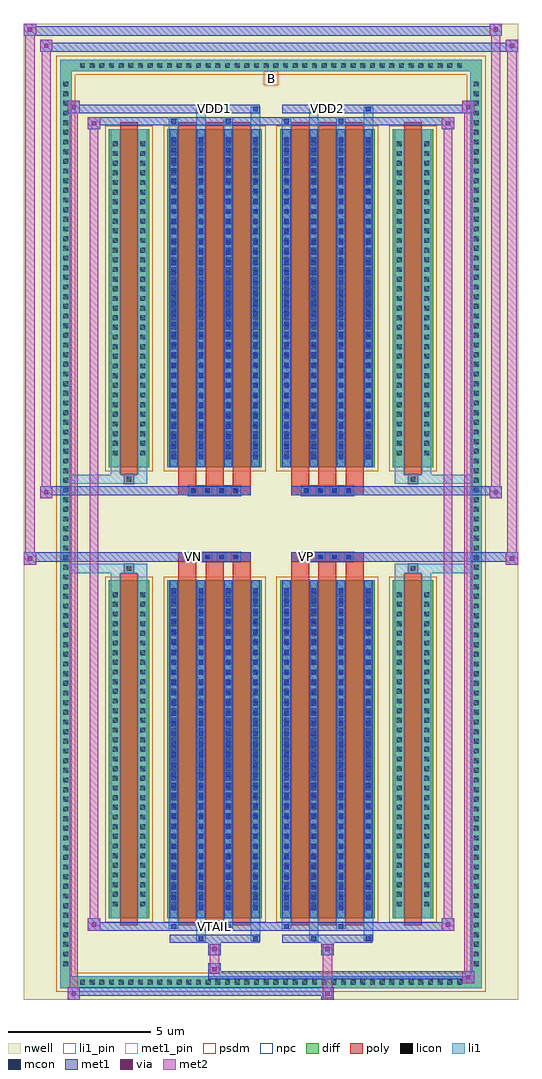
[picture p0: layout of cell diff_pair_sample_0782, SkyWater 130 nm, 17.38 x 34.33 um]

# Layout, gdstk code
import gdstk
lib = gdstk.Library(unit=1e-6, precision=5e-09)
def R(c, l, rs):  # rectangles x0, y0, x1, y1
    for r in rs: c.add(gdstk.rectangle(r[:2], r[2:], *l))
def A(c, l, x, y, w, h, nx, ny, dx, dy):  # array of equal rectangles
    R(c, l, [(x+i*dx, y+j*dy, x+i*dx+w, y+j*dy+h) for i in range(nx) for j in range(ny)])
def P(c, l, *ps):  # polygons
    for p in ps: c.add(gdstk.Polygon(p, *l))
nwell = (64, 20)
diff = (65, 20)
poly = (66, 20)
licon = (66, 44)
li1_pin = (67, 16)
li1 = (67, 20)
mcon = (67, 44)
met1_pin = (68, 16)
met1 = (68, 20)
via = (68, 44)
met2 = (69, 20)
psdm = (94, 20)
npc = (95, 20)

diff_pair_sample_0782 = lib.new_cell('diff_pair_sample_0782')
R(diff_pair_sample_0782, nwell, [(-8.69,-16.73,8.69,17.6), (-6.01,-14.92,-0.01,-0.8), (0.01,-14.92,6.01,-0.8), (-6.01,0.8,-0.01,14.92), (0.01,0.8,6.01,14.92)])
A(diff_pair_sample_0782, diff, -6.835, -16.33, 0.41, 0.41, 40, 2, 0.34, 32.25)
A(diff_pair_sample_0782, diff, -7.42, -15.675, 0.41, 0.41, 1, 92, 0, 0.34)
A(diff_pair_sample_0782, diff, 7.01, -15.675, 0.41, 0.41, 1, 92, 0, 0.34)
R(diff_pair_sample_0782, diff, [(-6.835,-16.33,6.835,-15.92), (-7.42,-15.675,-7.01,15.675), (7.01,-15.675,7.42,15.675), (-5.7,-13.875,-4.29,-1.985), (-3.65,-13.875,-0.32,-1.985), (0.32,-13.875,3.65,-1.985), (4.29,-13.875,5.7,-1.985), (-5.7,1.985,-4.29,13.875), (-3.65,1.985,-0.32,13.875), (0.32,1.985,3.65,13.875), (4.29,1.985,5.7,13.875), (-6.835,15.92,6.835,16.33)])
P(diff_pair_sample_0782, diff, [(7.42,16.33),(-7.42,16.33),(-7.42,-15.92),(-7.01,-15.92),(-7.01,15.92),(7.01,15.92),(7.01,-15.92),(-7.01,-15.92),(-7.42,-15.92),(-7.42,-16.33),(7.42,-16.33)])
A(diff_pair_sample_0782, poly, -3.26, -14.125, 0.63, 12.39, 3, 2, 0.96, 15.86)
A(diff_pair_sample_0782, poly, 0.71, -14.125, 0.63, 12.39, 3, 2, 0.96, 15.86)
A(diff_pair_sample_0782, poly, -3.26, -1.735, 0.63, 0.405, 3, 2, 0.96, 3.065)
A(diff_pair_sample_0782, poly, 0.71, -1.735, 0.63, 0.405, 3, 2, 0.96, 3.065)
A(diff_pair_sample_0782, poly, -2.9, -1.33, 0.33, 0.33, 4, 2, 0.5, 2.33)
A(diff_pair_sample_0782, poly, 1.07, -1.33, 0.33, 0.33, 4, 2, 0.5, 2.33)
R(diff_pair_sample_0782, poly, [(-5.31,-14.125,-4.68,-1.735), (4.68,-14.125,5.31,-1.735), (-5.16,-1.735,-4.83,-1.405), (-5.16,-1.735,-4.83,-1.405), (4.83,-1.735,5.16,-1.405), (4.83,-1.735,5.16,-1.405), (-3.26,-1.33,-0.71,-1), (0.71,-1.33,3.26,-1), (-3.26,1,-0.71,1.33), (0.71,1,3.26,1.33), (-5.16,1.405,-4.83,1.735), (-5.16,1.405,-4.83,1.735), (4.83,1.405,5.16,1.735), (4.83,1.405,5.16,1.735), (-5.31,1.735,-4.68,14.125), (4.68,1.735,5.31,14.125)])
A(diff_pair_sample_0782, licon, -6.715, -16.21, 0.17, 0.17, 40, 2, 0.34, 32.25)
A(diff_pair_sample_0782, licon, -7.3, -15.555, 0.17, 0.17, 1, 92, 0, 0.34)
A(diff_pair_sample_0782, licon, 7.13, -15.555, 0.17, 0.17, 1, 92, 0, 0.34)
A(diff_pair_sample_0782, licon, -5.56, -13.455, 0.17, 0.17, 1, 33, 0, 0.34)
A(diff_pair_sample_0782, licon, -4.6, -13.455, 0.17, 0.17, 1, 33, 0, 0.34)
A(diff_pair_sample_0782, licon, -3.51, -13.455, 0.17, 0.17, 4, 33, 0.96, 0.34)
A(diff_pair_sample_0782, licon, 0.46, -13.455, 0.17, 0.17, 4, 33, 0.96, 0.34)
A(diff_pair_sample_0782, licon, 4.43, -13.455, 0.17, 0.17, 1, 33, 0, 0.34)
A(diff_pair_sample_0782, licon, 5.39, -13.455, 0.17, 0.17, 1, 33, 0, 0.34)
A(diff_pair_sample_0782, licon, -2.82, -1.25, 0.17, 0.17, 4, 2, 0.5, 2.33)
A(diff_pair_sample_0782, licon, 1.15, -1.25, 0.17, 0.17, 4, 2, 0.5, 2.33)
A(diff_pair_sample_0782, licon, -5.56, 2.405, 0.17, 0.17, 1, 33, 0, 0.34)
A(diff_pair_sample_0782, licon, -4.6, 2.405, 0.17, 0.17, 1, 33, 0, 0.34)
A(diff_pair_sample_0782, licon, -3.51, 2.405, 0.17, 0.17, 4, 33, 0.96, 0.34)
A(diff_pair_sample_0782, licon, 0.46, 2.405, 0.17, 0.17, 4, 33, 0.96, 0.34)
A(diff_pair_sample_0782, licon, 4.43, 2.405, 0.17, 0.17, 1, 33, 0, 0.34)
A(diff_pair_sample_0782, licon, 5.39, 2.405, 0.17, 0.17, 1, 33, 0, 0.34)
R(diff_pair_sample_0782, licon, [(-5.08,-1.655,-4.91,-1.485), (4.91,-1.655,5.08,-1.485), (-5.08,1.485,-4.91,1.655), (4.91,1.485,5.08,1.655)])
R(diff_pair_sample_0782, li1_pin, [(-0.25,15.42,0.25,15.92)])
A(diff_pair_sample_0782, li1, -6.795, -16.29, 0.33, 0.33, 40, 2, 0.34, 32.25)
A(diff_pair_sample_0782, li1, -7.38, -15.635, 0.33, 0.33, 1, 92, 0, 0.34)
A(diff_pair_sample_0782, li1, 7.05, -15.635, 0.33, 0.33, 1, 92, 0, 0.34)
A(diff_pair_sample_0782, li1, -3.59, -13.875, 0.33, 11.89, 4, 2, 0.96, 15.86)
A(diff_pair_sample_0782, li1, 0.38, -13.875, 0.33, 11.89, 4, 2, 0.96, 15.86)
A(diff_pair_sample_0782, li1, -3.51, -13.595, 0.17, 0.17, 4, 32, 0.96, 0.36)
A(diff_pair_sample_0782, li1, -3.51, -13.595, 0.17, 11.33, 4, 2, 0.96, 15.86)
A(diff_pair_sample_0782, li1, 0.46, -13.595, 0.17, 0.17, 4, 32, 0.96, 0.36)
A(diff_pair_sample_0782, li1, 0.46, -13.595, 0.17, 11.33, 4, 2, 0.96, 15.86)
A(diff_pair_sample_0782, li1, -5.64, -13.535, 0.33, 0.33, 1, 33, 0, 0.34)
A(diff_pair_sample_0782, li1, -4.68, -13.535, 0.33, 0.33, 1, 33, 0, 0.34)
A(diff_pair_sample_0782, li1, -3.59, -13.535, 0.33, 0.33, 4, 33, 0.96, 0.34)
A(diff_pair_sample_0782, li1, 0.38, -13.535, 0.33, 0.33, 4, 33, 0.96, 0.34)
A(diff_pair_sample_0782, li1, 4.35, -13.535, 0.33, 0.33, 1, 33, 0, 0.34)
A(diff_pair_sample_0782, li1, 5.31, -13.535, 0.33, 0.33, 1, 33, 0, 0.34)
A(diff_pair_sample_0782, li1, -2.9, -1.33, 0.33, 0.33, 4, 2, 0.5, 2.33)
A(diff_pair_sample_0782, li1, 1.07, -1.33, 0.33, 0.33, 4, 2, 0.5, 2.33)
A(diff_pair_sample_0782, li1, -3.51, 2.265, 0.17, 0.17, 4, 32, 0.96, 0.36)
A(diff_pair_sample_0782, li1, 0.46, 2.265, 0.17, 0.17, 4, 32, 0.96, 0.36)
A(diff_pair_sample_0782, li1, -5.64, 2.325, 0.33, 0.33, 1, 33, 0, 0.34)
A(diff_pair_sample_0782, li1, -4.68, 2.325, 0.33, 0.33, 1, 33, 0, 0.34)
A(diff_pair_sample_0782, li1, -3.59, 2.325, 0.33, 0.33, 4, 33, 0.96, 0.34)
A(diff_pair_sample_0782, li1, 0.38, 2.325, 0.33, 0.33, 4, 33, 0.96, 0.34)
A(diff_pair_sample_0782, li1, 4.35, 2.325, 0.33, 0.33, 1, 33, 0, 0.34)
A(diff_pair_sample_0782, li1, 5.31, 2.325, 0.33, 0.33, 1, 33, 0, 0.34)
R(diff_pair_sample_0782, li1, [(-7.42,-16.33,-7.01,-15.92), (-7.42,-16.33,-7.01,-15.92), (-7.01,-16.33,7.01,-15.92), (7.01,-16.33,7.42,-15.92), (7.01,-16.33,7.42,-15.92), (-7.42,-15.92,-7.01,15.92), (7.01,-15.92,7.42,15.92), (-2.63,-14.68,-2.3,-13.875), (-2.55,-14.68,-2.38,-14.51), (-0.71,-14.68,-0.38,-13.875), (-0.63,-14.68,-0.46,-14.51), (1.34,-14.68,1.67,-13.875), (1.42,-14.68,1.59,-14.51), (3.26,-14.68,3.59,-13.875), (3.34,-14.68,3.51,-14.51), (-3.59,-14.25,-3.26,-13.875), (-3.51,-14.25,-3.34,-14.08), (-1.67,-14.25,-1.34,-13.875), (-1.59,-14.25,-1.42,-14.08), (0.38,-14.25,0.71,-13.875), (0.46,-14.25,0.63,-14.08), (2.3,-14.25,2.63,-13.875), (2.38,-14.25,2.55,-14.08), (-5.64,-13.875,-5.31,-1.985), (-4.68,-13.875,-4.35,-1.985), (4.35,-13.875,4.68,-1.985), (5.31,-13.875,5.64,-1.985), (-5.64,-1.985,-5.31,-1.405), (-4.68,-1.985,-4.35,-1.405), (4.35,-1.985,4.68,-1.405), (5.31,-1.985,5.64,-1.405), (-7.42,-1.735,-5.16,-1.405), (-5.64,-1.735,-5.16,-1.405), (-5.16,-1.735,-4.83,-1.405), (-4.83,-1.735,-4.35,-1.405), (4.35,-1.735,4.83,-1.405), (4.83,-1.735,5.16,-1.405), (4.83,-1.735,7.42,-1.405), (5.16,-1.735,5.64,-1.405), (-7.42,1.405,-5.16,1.735), (-5.64,1.405,-5.16,1.735), (-5.64,1.405,-5.31,1.985), (-5.16,1.405,-4.83,1.735), (-4.83,1.405,-4.35,1.735), (-4.68,1.405,-4.35,1.985), (4.35,1.405,4.83,1.735), (4.35,1.405,4.68,1.985), (4.83,1.405,5.16,1.735), (4.83,1.405,7.42,1.735), (5.16,1.405,5.64,1.735), (5.31,1.405,5.64,1.985), (-5.64,1.985,-5.31,13.875), (-4.68,1.985,-4.35,13.875), (4.35,1.985,4.68,13.875), (5.31,1.985,5.64,13.875), (-3.59,13.875,-3.26,14.25), (-2.63,13.875,-2.3,14.68), (-1.67,13.875,-1.34,14.25), (-0.71,13.875,-0.38,14.68), (0.38,13.875,0.71,14.25), (1.34,13.875,1.67,14.68), (2.3,13.875,2.63,14.25), (3.26,13.875,3.59,14.68), (-3.51,14.08,-3.34,14.25), (-1.59,14.08,-1.42,14.25), (0.46,14.08,0.63,14.25), (2.38,14.08,2.55,14.25), (-2.55,14.51,-2.38,14.68), (-0.63,14.51,-0.46,14.68), (1.42,14.51,1.59,14.68), (3.34,14.51,3.51,14.68), (-7.42,15.92,-7.01,16.33), (-7.42,15.92,-7.01,16.33), (-7.01,15.92,7.01,16.33), (7.01,15.92,7.42,16.33), (7.01,15.92,7.42,16.33)])
A(diff_pair_sample_0782, mcon, -3.51, -13.595, 0.17, 0.17, 4, 32, 0.96, 0.36)
A(diff_pair_sample_0782, mcon, 0.46, -13.595, 0.17, 0.17, 4, 32, 0.96, 0.36)
A(diff_pair_sample_0782, mcon, -2.82, -1.25, 0.17, 0.17, 4, 2, 0.5, 2.33)
A(diff_pair_sample_0782, mcon, 1.15, -1.25, 0.17, 0.17, 4, 2, 0.5, 2.33)
A(diff_pair_sample_0782, mcon, -3.51, 2.265, 0.17, 0.17, 4, 32, 0.96, 0.36)
A(diff_pair_sample_0782, mcon, 0.46, 2.265, 0.17, 0.17, 4, 32, 0.96, 0.36)
R(diff_pair_sample_0782, mcon, [(-2.55,-14.68,-2.38,-14.51), (-0.63,-14.68,-0.46,-14.51), (1.42,-14.68,1.59,-14.51), (3.34,-14.68,3.51,-14.51), (-3.51,-14.25,-3.34,-14.08), (-1.59,-14.25,-1.42,-14.08), (0.46,-14.25,0.63,-14.08), (2.38,-14.25,2.55,-14.08), (-3.51,14.08,-3.34,14.25), (-1.59,14.08,-1.42,14.25), (0.46,14.08,0.63,14.25), (2.38,14.08,2.55,14.25), (-2.55,14.51,-2.38,14.68), (-0.63,14.51,-0.46,14.68), (1.42,14.51,1.59,14.68), (3.34,14.51,3.51,14.68)])
R(diff_pair_sample_0782, met1_pin, [(-2.12,-14.29,-1.85,-14.02), (-2.87,-1.29,-2.6,-1.02), (1.1,-1.29,1.37,-1.02), (-2.12,14.47,-1.85,14.74), (1.85,14.47,2.12,14.74)])
A(diff_pair_sample_0782, met1, -3.57, -13.875, 0.29, 11.89, 4, 2, 0.96, 15.86)
A(diff_pair_sample_0782, met1, 0.4, -13.875, 0.29, 11.89, 4, 2, 0.96, 15.86)
A(diff_pair_sample_0782, met1, -3.57, -13.655, 0.29, 0.29, 4, 32, 0.96, 0.36)
A(diff_pair_sample_0782, met1, 0.4, -13.655, 0.29, 0.29, 4, 32, 0.96, 0.36)
A(diff_pair_sample_0782, met1, -2.88, -1.31, 0.29, 0.29, 4, 2, 0.5, 2.33)
A(diff_pair_sample_0782, met1, 1.09, -1.31, 0.29, 0.29, 4, 2, 0.5, 2.33)
A(diff_pair_sample_0782, met1, -3.57, 2.205, 0.29, 0.29, 4, 32, 0.96, 0.36)
A(diff_pair_sample_0782, met1, 0.4, 2.205, 0.29, 0.29, 4, 32, 0.96, 0.36)
R(diff_pair_sample_0782, met1, [(-7.15,-16.73,-6.72,-16.3), (1.77,-16.73,2.2,-16.3), (-7.15,-16.59,2.2,-16.3), (6.72,-16.16,7.15,-15.73), (-2.2,-16.02,7.15,-15.73), (-2.2,-15.88,-1.77,-15.45), (-2.2,-15.17,-1.77,-14.74), (1.77,-15.17,2.2,-14.74), (-3.57,-14.74,-0.4,-14.45), (-2.61,-14.74,-2.32,-14.45), (-0.69,-14.74,-0.4,-14.45), (0.4,-14.74,3.57,-14.45), (1.36,-14.74,1.65,-14.45), (3.28,-14.74,3.57,-14.45), (-6.44,-14.31,-6.01,-13.88), (-6.44,-14.31,-3.57,-14.02), (-3.57,-14.31,-3.28,-14.02), (-3.57,-14.31,-0.4,-14.02), (-1.65,-14.31,-1.36,-14.02), (-0.4,-14.31,0.4,-14.02), (0.4,-14.31,0.69,-14.02), (0.4,-14.31,3.57,-14.02), (2.32,-14.31,2.61,-14.02), (3.57,-14.31,6.44,-14.02), (6.01,-14.31,6.44,-13.88), (-8.69,-1.43,-8.26,-1), (8.26,-1.43,8.69,-1), (-8.69,-1.33,-0.71,-1), (-3.26,-1.33,-0.71,-1), (0.71,-1.33,3.26,-1), (0.71,-1.33,8.69,-1), (-8.12,0.9,-7.69,1.33), (7.69,0.9,8.12,1.33), (-8.12,1,-3.26,1.33), (-3.26,1,-0.71,1.33), (0.71,1,3.26,1.33), (3.26,1,8.12,1.33), (-6.44,13.88,-6.01,14.31), (6.01,13.88,6.44,14.31), (-6.44,14.02,-3.57,14.31), (-3.57,14.02,-3.28,14.31), (-3.57,14.02,-0.4,14.31), (-1.65,14.02,-1.36,14.31), (-0.4,14.02,0.4,14.31), (0.4,14.02,0.69,14.31), (0.4,14.02,3.57,14.31), (2.32,14.02,2.61,14.31), (3.57,14.02,6.44,14.31), (-7.15,14.45,-6.72,14.88), (-7.15,14.45,-3.57,14.74), (-3.57,14.45,-0.4,14.74), (-2.61,14.45,-2.32,14.74), (-0.69,14.45,-0.4,14.74), (0.4,14.45,3.57,14.74), (1.36,14.45,1.65,14.74), (3.28,14.45,3.57,14.74), (3.57,14.45,7.15,14.74), (6.72,14.45,7.15,14.88), (-8.12,16.6,-7.69,17.03), (-8.12,16.6,-6.01,16.93), (-6.01,16.6,6.01,16.93), (6.01,16.6,8.69,16.93), (8.26,16.6,8.69,17.03), (-8.69,17.17,-8.26,17.6), (-8.69,17.17,-6.01,17.5), (-6.01,17.17,6.01,17.5), (6.01,17.17,8.12,17.5), (7.69,17.17,8.12,17.6)])
R(diff_pair_sample_0782, via, [(-7.01,-16.59,-6.86,-16.44), (1.91,-16.59,2.06,-16.44), (6.86,-16.02,7.01,-15.87), (-2.06,-15.74,-1.91,-15.59), (-2.06,-15.03,-1.91,-14.88), (1.91,-15.03,2.06,-14.88), (-6.3,-14.17,-6.15,-14.02), (6.15,-14.17,6.3,-14.02), (-8.55,-1.29,-8.4,-1.14), (8.4,-1.29,8.55,-1.14), (-7.98,1.04,-7.83,1.19), (7.83,1.04,7.98,1.19), (-6.3,14.02,-6.15,14.17), (6.15,14.02,6.3,14.17), (-7.01,14.59,-6.86,14.74), (6.86,14.59,7.01,14.74), (-7.98,16.74,-7.83,16.89), (8.4,16.74,8.55,16.89), (-8.55,17.31,-8.4,17.46), (7.83,17.31,7.98,17.46)])
R(diff_pair_sample_0782, met2, [(-7.15,-16.73,-6.72,-16.3), (-7.08,-16.73,-6.79,14.88), (-6.79,-16.73,-6.72,-16.3), (-7.1,-16.68,-6.77,-16.35), (1.82,-16.68,2.15,-16.35), (1.82,-16.35,2.15,-15.12), (6.72,-16.16,7.15,-15.73), (6.79,-16.16,7.08,14.88), (7.08,-16.16,7.15,-15.73), (6.77,-16.11,7.1,-15.78), (-2.15,-15.83,-1.82,-15.5), (-2.15,-15.5,-1.82,-15.12), (-2.15,-15.12,-1.82,-14.79), (1.82,-15.12,2.15,-14.79), (-6.44,-14.31,-6.01,-13.88), (-6.37,-14.31,-6.08,14.31), (-6.08,-14.31,-6.01,-13.88), (6.01,-14.31,6.44,-13.88), (6.08,-14.31,6.37,14.31), (6.37,-14.31,6.44,-13.88), (-6.39,-14.26,-6.06,-13.93), (6.06,-14.26,6.39,-13.93), (-8.69,-1.43,-8.26,-1), (-8.64,-1.43,-8.31,17.6), (-8.31,-1.43,-8.26,-1), (8.26,-1.43,8.69,-1), (8.31,-1.43,8.64,17.03), (8.64,-1.43,8.69,-1), (-8.64,-1.38,-8.31,-1.05), (8.31,-1.38,8.64,-1.05), (-8.12,0.9,-7.69,1.33), (-8.07,0.9,-7.74,17.03), (-7.74,0.9,-7.69,1.33), (7.69,0.9,8.12,1.33), (7.74,0.9,8.07,17.6), (8.07,0.9,8.12,1.33), (-8.07,0.95,-7.74,1.28), (7.74,0.95,8.07,1.28), (-6.44,13.88,-6.01,14.31), (-6.08,13.88,-6.01,14.31), (6.01,13.88,6.44,14.31), (6.37,13.88,6.44,14.31), (-6.39,13.93,-6.06,14.26), (6.06,13.93,6.39,14.26), (-7.15,14.45,-6.72,14.88), (-6.79,14.45,-6.72,14.88), (6.72,14.45,7.15,14.88), (7.08,14.45,7.15,14.88), (-7.1,14.5,-6.77,14.83), (6.77,14.5,7.1,14.83), (-8.12,16.6,-7.69,17.03), (-7.74,16.6,-7.69,17.03), (8.26,16.6,8.69,17.03), (8.64,16.6,8.69,17.03), (-8.07,16.65,-7.74,16.98), (8.31,16.65,8.64,16.98), (-8.69,17.17,-8.26,17.6), (-8.31,17.17,-8.26,17.6), (7.69,17.17,8.12,17.6), (8.07,17.17,8.12,17.6), (-8.64,17.22,-8.31,17.55), (7.74,17.22,8.07,17.55)])
R(diff_pair_sample_0782, psdm, [(-5.83,-14.005,-4.16,-1.855), (-3.78,-14.005,-0.19,-1.855), (0.19,-14.005,3.78,-1.855), (4.16,-14.005,5.83,-1.855), (-5.83,1.855,-4.16,14.005), (-3.78,1.855,-0.19,14.005), (0.19,1.855,3.78,14.005), (4.16,1.855,5.83,14.005)])
P(diff_pair_sample_0782, psdm, [(7.55,16.46),(-7.55,16.46),(-7.55,-15.79),(-6.88,-15.79),(-6.88,15.79),(6.88,15.79),(6.88,-15.79),(-6.88,-15.79),(-7.55,-15.79),(-7.55,-16.46),(7.55,-16.46)])
A(diff_pair_sample_0782, npc, -2.92, -1.35, 0.37, 0.37, 4, 2, 0.5, 2.33)
A(diff_pair_sample_0782, npc, 1.05, -1.35, 0.37, 0.37, 4, 2, 0.5, 2.33)
R(diff_pair_sample_0782, npc, [(-5.18,-1.755,-4.81,-1.385), (4.81,-1.755,5.18,-1.385), (-2.92,-1.35,-2.05,-0.98), (-2.92,-1.35,-2.05,-0.98), (-2.42,-1.35,-1.55,-0.98), (-2.42,-1.35,-1.55,-0.98), (-1.92,-1.35,-1.05,-0.98), (-1.92,-1.35,-1.05,-0.98), (1.05,-1.35,1.92,-0.98), (1.05,-1.35,1.92,-0.98), (1.55,-1.35,2.42,-0.98), (1.55,-1.35,2.42,-0.98), (2.05,-1.35,2.92,-0.98), (2.05,-1.35,2.92,-0.98), (-2.92,0.98,-2.05,1.35), (-2.92,0.98,-2.05,1.35), (-2.42,0.98,-1.55,1.35), (-2.42,0.98,-1.55,1.35), (-1.92,0.98,-1.05,1.35), (-1.92,0.98,-1.05,1.35), (1.05,0.98,1.92,1.35), (1.05,0.98,1.92,1.35), (1.55,0.98,2.42,1.35), (1.55,0.98,2.42,1.35), (2.05,0.98,2.92,1.35), (2.05,0.98,2.92,1.35), (-5.18,1.385,-4.81,1.755), (4.81,1.385,5.18,1.755)])
diff_pair_sample_0782.add(gdstk.Label('VTAIL', (-1.985,-14.155), layer=68, texttype=5))
diff_pair_sample_0782.add(gdstk.Label('VN', (-2.735,-1.155), layer=68, texttype=5))
diff_pair_sample_0782.add(gdstk.Label('VP', (1.235,-1.155), layer=68, texttype=5))
diff_pair_sample_0782.add(gdstk.Label('B', (0,15.67), layer=67, texttype=5))
diff_pair_sample_0782.add(gdstk.Label('VDD2', (1.985,14.605), layer=68, texttype=5))
diff_pair_sample_0782.add(gdstk.Label('VDD1', (-1.985,14.605), layer=68, texttype=5))

lib.write_gds('diff_pair_sample_0782.gds')
